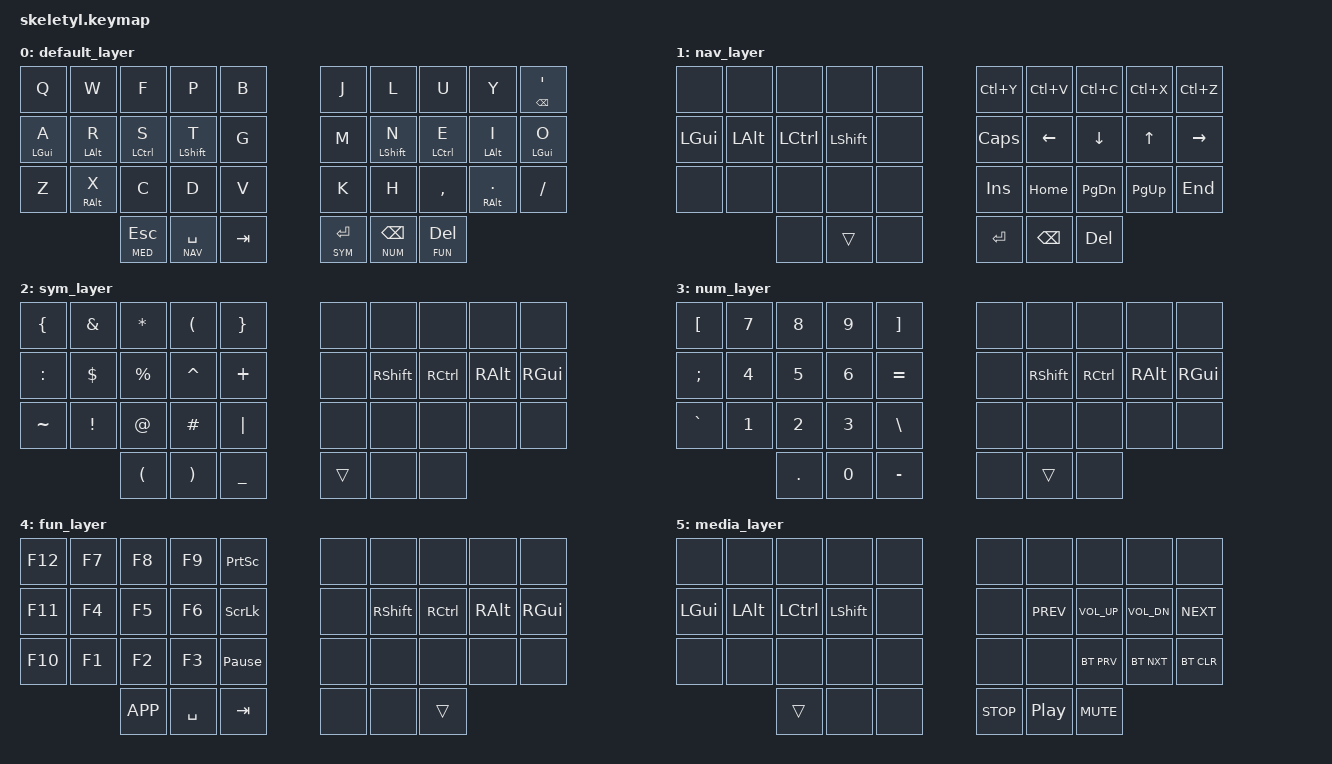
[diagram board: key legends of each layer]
#include <behaviors.dtsi>
#include <dt-bindings/zmk/keys.h>
#include <dt-bindings/zmk/bt.h>

// The default keymap is roughly on Miryoku layout
// (https://github.com/manna-harbour/miryoku).
// Customize on your own on the config folder.

#define BASE    0
#define NAV     1
#define SYM     2
#define NUM     3
#define FUN     4
#define MED     5

/ {
    behaviors {
        as: auto_shift {
            compatible = "zmk,behavior-hold-tap";
            label = "AUTO_SHIFT";
            #binding-cells = <2>;
            tapping-term-ms = <135>;
            quick-tap-ms = <0>;
            flavor = "tap-preferred";
            bindings = <&kp>, <&kp>;
        };
        hm: homerow_mods {
            compatible = "zmk,behavior-hold-tap";
            label = "HOMEROW_MODS";
            #binding-cells = <2>;
            tapping-term-ms = <175>;
            quick-tap-ms = <0>;
            flavor = "tap-preferred";
            bindings = <&kp>, <&kp>;
        };
        hmp: homerow_mods_pinky {
            compatible = "zmk,behavior-hold-tap";
            label = "HOMEROW_MODS";
            #binding-cells = <2>;
            tapping-term-ms = <200>;
            quick-tap-ms = <0>;
            flavor = "tap-preferred";
            bindings = <&kp>, <&kp>;
        };
    };


    keymap {
        compatible = "zmk,keymap";

        default_layer {
            bindings = <
    &kp Q       &kp W       &kp F       &kp P       &kp B                                   &kp J           &kp L       &kp U       &kp Y           &hm BSPC SQT
    &hm LGUI A  &hm LALT R  &hm LCTRL S &hm LSHFT T &kp G                                   &kp M           &hm LSHFT N &hm LCTRL E &hm LALT I      &hm LGUI O
    &kp Z       &hm RALT X  &kp C       &kp D       &kp V                                   &kp K           &kp H       &kp COMMA   &hm RALT DOT    &kp FSLH
                                        &lt MED ESC &lt NAV SPACE   &kp TAB     &lt SYM RET &lt NUM BSPC    &lt FUN DEL
            >;
        };

        nav_layer {
            bindings = <
    &none       &none       &none       &none       &none                           &kp LC(Y)    &kp LC(V)   &kp LC(C)   &kp LC(X)   &kp LC(Z)
    &kp LGUI    &kp LALT    &kp LCTRL   &kp LSHFT   &none                           &kp CAPS    &kp LEFT    &kp DOWN    &kp UP      &kp RIGHT
    &none       &none       &none       &none       &none                           &kp INS     &kp HOME    &kp PG_DN   &kp PG_UP   &kp END
                                        &none       &trans  &none       &kp RET     &kp BSPC    &kp DEL     
            >;
        };

        sym_layer {
            bindings = <
    &kp LBRC    &kp AMPS    &kp STAR    &kp LPAR   &kp RBRC                     &none       &none       &none       &none       &none
    &kp COLON   &kp DLLR    &kp PRCNT   &kp CARET  &kp PLUS                     &none       &kp RSHFT   &kp RCTRL   &kp RALT    &kp RGUI
    &kp TILDE   &kp EXCL    &kp AT      &kp HASH   &kp PIPE                     &none       &none       &none       &none       &none
                                        &kp LPAR   &kp RPAR &kp UNDER   &trans  &none       &none
            >;
        };

        num_layer {
            bindings = <
    &kp LBKT    &kp N7  &kp N8  &kp N9  &kp RBKT                        &none   &none       &none       &none       &none
    &kp SEMI    &kp N4  &kp N5  &kp N6  &kp EQUAL                       &none   &kp RSHFT   &kp RCTRL   &kp RALT    &kp RGUI
    &kp GRAVE   &kp N1  &kp N2  &kp N3  &kp BSLH                        &none   &none       &none       &none       &none
                                &kp DOT &kp N0      &kp MINUS   &none   &trans  &none
            >;
        };

        fun_layer {
            bindings = <
    &kp F12 &kp F7  &kp F8  &kp F9      &kp PSCRN                           &none   &none       &none       &none       &none
    &kp F11 &kp F4  &kp F5  &kp F6      &kp SLCK                            &none   &kp RSHFT   &kp RCTRL   &kp RALT    &kp RGUI
    &kp F10 &kp F1  &kp F2  &kp F3      &kp PAUSE_BREAK                     &none   &none       &none       &none       &none
                            &kp K_APP   &kp SPACE       &kp TAB     &none   &none   &trans
            >;
        };

        media_layer {
            bindings = <
    &none       &none       &none       &none       &none                           &none       &none       &none           &none           &none
    &kp LGUI    &kp LALT    &kp LCTRL   &kp LSHFT   &none                           &none       &kp C_PREV  &kp C_VOL_UP    &kp C_VOL_DN    &kp C_NEXT
    &none       &none       &none       &none       &none                           &none       &none       &bt BT_PRV           &bt BT_NXT           &bt BT_CLR
                                        &trans      &none   &none       &kp C_STOP  &kp C_PP    &kp C_MUTE     
            >;
        };
    };
};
